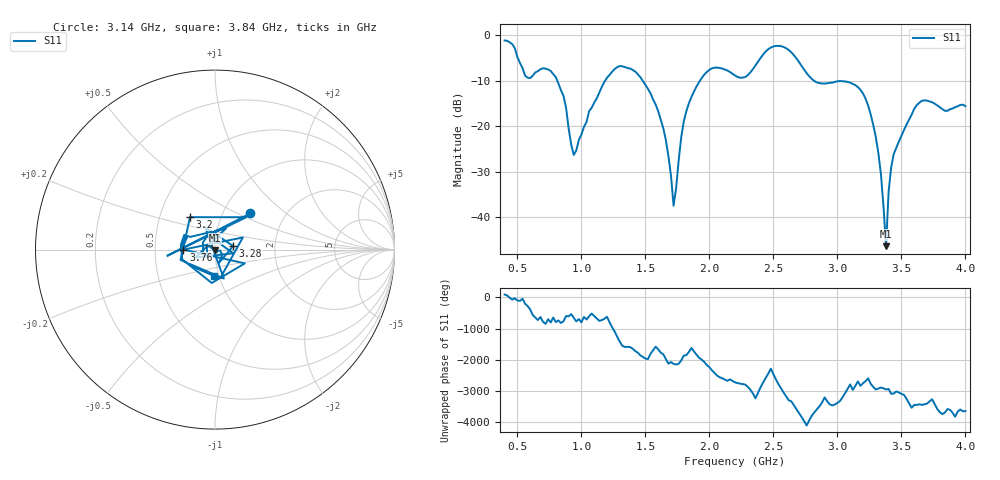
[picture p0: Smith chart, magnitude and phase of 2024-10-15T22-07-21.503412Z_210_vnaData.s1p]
! Created with skrf (http://scikit-rf.org).
# Hz S RI R 50.0
!freq ReS11 ImS11
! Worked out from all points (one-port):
!   181 points, 400 MHz to 4 GHz, reference 50 ohm
!   lowest |S11| = -46.3 dB at 3.38 GHz (marker M1), VSWR 1.01, Z = 50.2 - j0.46 ohm
!   |S11| at or under -10 dB: 810.9 MHz to 1.186 GHz (374.9 MHz wide, 37.6 % of centre); 1.478 GHz to 1.927 GHz (449 MHz wide, 26.4 % of centre); 2.816 GHz to end of sweep
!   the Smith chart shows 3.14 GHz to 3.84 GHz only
!   S11 on the Smith chart (normalised r, x): 3.14 GHz: 1.34, +0.59; 3.2 GHz: 0.71, +0.27; 3.28 GHz: 1.22, +0.05; 3.76 GHz: 0.70, -0.00; 3.84 GHz: 0.95, -0.29
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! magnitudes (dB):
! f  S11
! 400 MHz  -1.2
! 560 MHz  -8.9
! 740 MHz  -7.6
! 860 MHz  -13.3
! 940 MHz  -26.3
! 1.3 GHz  -6.8
! 1.58 GHz  -15.3
! 1.66 GHz  -23.1
! 1.72 GHz  -37.4
! 1.76 GHz  -27.5
! 1.82 GHz  -16.7
! 1.94 GHz  -9.4
! 2.2 GHz  -8.9
! 2.5 GHz  -2.5
! 2.66 GHz  -4.4
! 2.84 GHz  -10.4
! 3.1 GHz  -10.5
! 3.14 GHz  -11.0
! 3.2 GHz  -12.8
! 3.28 GHz  -19.7
! 3.34 GHz  -30.5
! 3.38 GHz  -46.3
! 3.4 GHz  -34.4
! 3.42 GHz  -29.1
! 3.56 GHz  -18.6
! 3.76 GHz  -15.1
! 3.84 GHz  -16.6
! 4 GHz  -15.6
